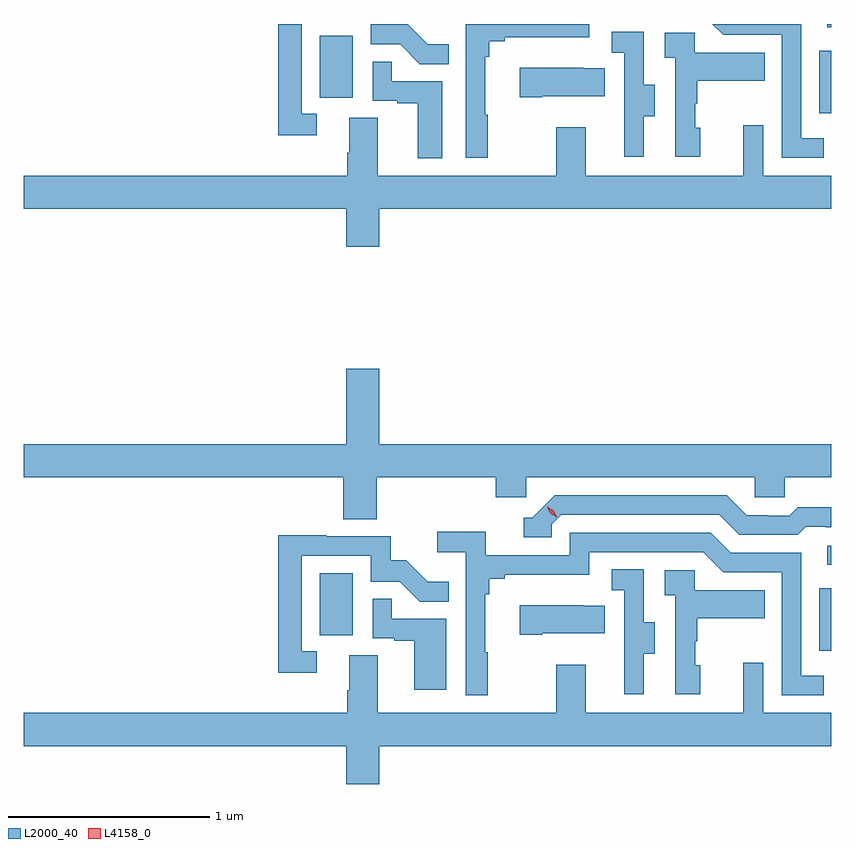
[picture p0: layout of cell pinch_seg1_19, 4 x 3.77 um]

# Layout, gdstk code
import gdstk
lib = gdstk.Library(unit=1e-6, precision=1e-09)
def R(c, l, rs):  # rectangles x0, y0, x1, y1
    for r in rs: c.add(gdstk.rectangle(r[:2], r[2:], *l))
def P(c, l, *ps):  # polygons
    for p in ps: c.add(gdstk.Polygon(p, *l))
L2000_40 = (2000, 40)
L4158_0 = (4158, 0)

pinch_seg1_19 = lib.new_cell('pinch_seg1_19')
R(pinch_seg1_19, L2000_40, [(1144.374,574.848,1144.432,575.158), (1141.898,574.926,1142.062,575.233), (1144.413,575.274,1144.432,575.37), (1144.374,577.512,1144.432,577.822), (1141.898,577.59,1142.062,577.897), (1144.413,577.938,1144.432,577.955)])
P(pinch_seg1_19, L2000_40, [(1142.537,577.855),(1142.433,577.855),(1142.333,577.955),(1142.151,577.955),(1142.151,577.854),(1142.296,577.854),(1142.394,577.756),(1142.537,577.756)],
  [(1141.882,577.509),(1141.809,577.509),(1141.809,577.955),(1141.693,577.955),(1141.693,577.404),(1141.882,577.404)],
  [(1142.731,577.505),(1142.719,577.505),(1142.719,577.793),(1142.738,577.793),(1142.738,577.87),(1142.815,577.87),(1142.815,577.889),(1143.234,577.889),(1143.234,577.955),(1142.622,577.955),(1142.622,577.293),(1142.731,577.293)],
  [(1144.397,577.389),(1144.284,577.389),(1144.284,577.955),(1143.844,577.955),(1143.897,577.902),(1144.188,577.902),(1144.188,577.293),(1144.397,577.293)],
  [(1143.505,577.498),(1143.559,577.498),(1143.559,577.653),(1143.504,577.653),(1143.504,577.916),(1143.345,577.916),(1143.345,577.813),(1143.408,577.813),(1143.408,577.509),(1143.407,577.509),(1143.407,577.296),(1143.505,577.296)],
  [(1143.784,577.44),(1143.759,577.44),(1143.759,577.559),(1143.769,577.559),(1143.769,577.673),(1144.103,577.673),(1144.103,577.813),(1143.756,577.813),(1143.756,577.911),(1143.609,577.911),(1143.609,577.787),(1143.66,577.787),(1143.66,577.296),(1143.784,577.296)],
  [(1142.506,577.671),(1142.255,577.671),(1142.255,577.769),(1142.16,577.769),(1142.16,577.575),(1142.281,577.575),(1142.281,577.563),(1142.384,577.563),(1142.384,577.289),(1142.506,577.289)],
  [(1143.001,577.598),(1143.311,577.598),(1143.311,577.735),(1143.203,577.735),(1143.203,577.738),(1142.889,577.738),(1142.889,577.591),(1143.001,577.591)],
  [(1142.194,577.04),(1144.432,577.04),(1144.432,577.204),(1144.095,577.204),(1144.095,577.453),(1143.998,577.453),(1143.998,577.204),(1143.217,577.204),(1143.217,577.444),(1143.07,577.444),(1143.07,577.204),(1142.185,577.204),(1142.185,577.49),(1142.045,577.49),(1142.045,577.316),(1142.033,577.316),(1142.033,577.204),(1140.432,577.204),(1140.432,577.04),(1142.03,577.04),(1142.03,576.852),(1142.194,576.852)],
  [(1142.18,575.708),(1142.771,575.708),(1142.771,575.61),(1142.922,575.61),(1142.922,575.708),(1144.053,575.708),(1144.053,575.61),(1144.203,575.61),(1144.203,575.708),(1144.432,575.708),(1144.432,575.872),(1142.194,575.872),(1142.194,576.247),(1142.03,576.247),(1142.03,575.872),(1140.432,575.872),(1140.432,575.708),(1142.015,575.708),(1142.015,575.5),(1142.18,575.5)],
  [(1143.048,575.475),(1143.096,575.523),(1143.879,575.523),(1143.978,575.424),(1144.267,575.424),(1144.306,575.463),(1144.405,575.463),(1144.405,575.46),(1144.432,575.46),(1144.432,575.56),(1144.267,575.56),(1144.225,575.517),(1144.122,575.517),(1144.122,575.52),(1144.015,575.52),(1143.916,575.619),(1143.063,575.619),(1142.952,575.508),(1142.909,575.508),(1142.909,575.412),(1143.048,575.412)],
  [(1142.731,574.841),(1142.719,574.841),(1142.719,575.129),(1142.738,575.129),(1142.738,575.206),(1142.815,575.206),(1142.815,575.225),(1143.234,575.225),(1143.234,575.337),(1143.798,575.337),(1143.897,575.238),(1144.188,575.238),(1144.188,574.629),(1144.397,574.629),(1144.397,574.725),(1144.284,574.725),(1144.284,575.334),(1143.934,575.334),(1143.835,575.433),(1143.138,575.433),(1143.138,575.322),(1142.72,575.322),(1142.72,575.438),(1142.481,575.438),(1142.481,575.336),(1142.622,575.336),(1142.622,574.629),(1142.731,574.629)],
  [(1141.882,574.845),(1141.809,574.845),(1141.809,575.319),(1142.151,575.319),(1142.151,575.19),(1142.295,575.19),(1142.393,575.092),(1142.537,575.092),(1142.537,575.191),(1142.433,575.191),(1142.326,575.298),(1142.25,575.298),(1142.25,575.415),(1141.931,575.415),(1141.931,575.42),(1141.693,575.42),(1141.693,574.74),(1141.882,574.74)],
  [(1143.505,574.834),(1143.559,574.834),(1143.559,574.989),(1143.504,574.989),(1143.504,575.252),(1143.345,575.252),(1143.345,575.149),(1143.408,575.149),(1143.408,574.845),(1143.407,574.845),(1143.407,574.632),(1143.505,574.632)],
  [(1143.784,574.776),(1143.759,574.776),(1143.759,574.895),(1143.769,574.895),(1143.769,575.009),(1144.103,575.009),(1144.103,575.149),(1143.756,575.149),(1143.756,575.247),(1143.609,575.247),(1143.609,575.123),(1143.66,575.123),(1143.66,574.632),(1143.784,574.632)],
  [(1142.524,575.007),(1142.255,575.007),(1142.255,575.105),(1142.16,575.105),(1142.16,574.911),(1142.267,574.911),(1142.267,574.899),(1142.366,574.899),(1142.366,574.656),(1142.524,574.656)],
  [(1143.001,574.934),(1143.311,574.934),(1143.311,575.071),(1143.203,575.071),(1143.203,575.074),(1142.889,575.074),(1142.889,574.927),(1143.001,574.927)],
  [(1142.194,574.376),(1144.432,574.376),(1144.432,574.54),(1144.095,574.54),(1144.095,574.789),(1143.998,574.789),(1143.998,574.54),(1143.217,574.54),(1143.217,574.78),(1143.07,574.78),(1143.07,574.54),(1142.185,574.54),(1142.185,574.826),(1142.045,574.826),(1142.045,574.652),(1142.033,574.652),(1142.033,574.54),(1140.432,574.54),(1140.432,574.376),(1142.03,574.376),(1142.03,574.188),(1142.194,574.188)])
P(pinch_seg1_19, L4158_0, [(1143.072,575.509),(1143.041,575.529),(1143.026,575.562),(1143.026,575.562),(1143.026,575.562),(1143.057,575.542),(1143.072,575.509),(1143.072,575.509)])

lib.write_gds('pinch_seg1_19.gds')
